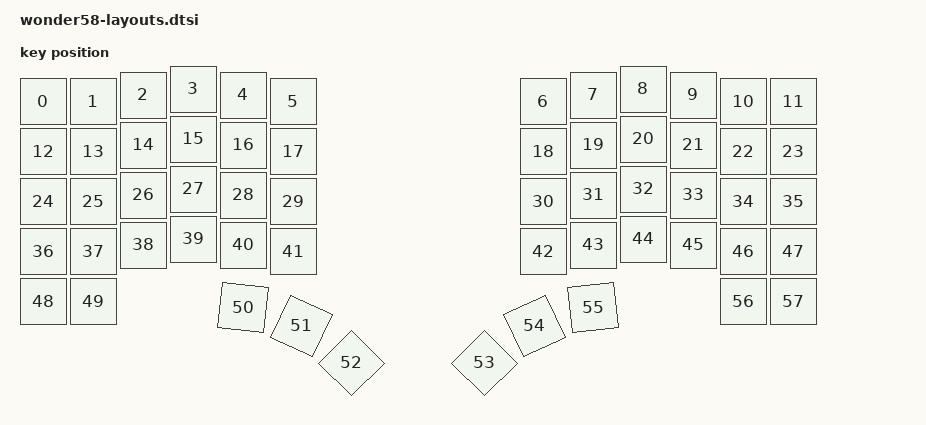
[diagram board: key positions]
#include <physical_layouts.dtsi>

/ {
    physical_layout0: physical_layout_0 {
        compatible = "zmk,physical-layout";
        display-name = "default";

    	kscan = <&kscan0>;
    	transform = <&default_transform>;

        keys  //                     w   h    x    y     rot    rx    ry
            = <&key_physical_attrs 100 100    0   25       0     0     0>
            , <&key_physical_attrs 100 100  100   25       0     0     0>
            , <&key_physical_attrs 100 100  200   12       0     0     0>
            , <&key_physical_attrs 100 100  300    0       0     0     0>
            , <&key_physical_attrs 100 100  400   12       0     0     0>
            , <&key_physical_attrs 100 100  500   25       0     0     0>
            , <&key_physical_attrs 100 100 1000   25       0     0     0>
            , <&key_physical_attrs 100 100 1100   12       0     0     0>
            , <&key_physical_attrs 100 100 1200    0       0     0     0>
            , <&key_physical_attrs 100 100 1300   12       0     0     0>
            , <&key_physical_attrs 100 100 1400   25       0     0     0>
            , <&key_physical_attrs 100 100 1500   25       0     0     0>
            , <&key_physical_attrs 100 100    0  125       0     0     0>
            , <&key_physical_attrs 100 100  100  125       0     0     0>
            , <&key_physical_attrs 100 100  200  112       0     0     0>
            , <&key_physical_attrs 100 100  300  100       0     0     0>
            , <&key_physical_attrs 100 100  400  112       0     0     0>
            , <&key_physical_attrs 100 100  500  125       0     0     0>
            , <&key_physical_attrs 100 100 1000  125       0     0     0>
            , <&key_physical_attrs 100 100 1100  112       0     0     0>
            , <&key_physical_attrs 100 100 1200  100       0     0     0>
            , <&key_physical_attrs 100 100 1300  112       0     0     0>
            , <&key_physical_attrs 100 100 1400  125       0     0     0>
            , <&key_physical_attrs 100 100 1500  125       0     0     0>
            , <&key_physical_attrs 100 100    0  225       0     0     0>
            , <&key_physical_attrs 100 100  100  225       0     0     0>
            , <&key_physical_attrs 100 100  200  212       0     0     0>
            , <&key_physical_attrs 100 100  300  200       0     0     0>
            , <&key_physical_attrs 100 100  400  212       0     0     0>
            , <&key_physical_attrs 100 100  500  225       0     0     0>
            , <&key_physical_attrs 100 100 1000  225       0     0     0>
            , <&key_physical_attrs 100 100 1100  212       0     0     0>
            , <&key_physical_attrs 100 100 1200  200       0     0     0>
            , <&key_physical_attrs 100 100 1300  212       0     0     0>
            , <&key_physical_attrs 100 100 1400  225       0     0     0>
            , <&key_physical_attrs 100 100 1500  225       0     0     0>
            , <&key_physical_attrs 100 100    0  325       0     0     0>
            , <&key_physical_attrs 100 100  100  325       0     0     0>
            , <&key_physical_attrs 100 100  200  312       0     0     0>
            , <&key_physical_attrs 100 100  300  300       0     0     0>
            , <&key_physical_attrs 100 100  400  312       0     0     0>
            , <&key_physical_attrs 100 100  500  325       0     0     0>
            , <&key_physical_attrs 100 100 1000  325       0     0     0>
            , <&key_physical_attrs 100 100 1100  312       0     0     0>
            , <&key_physical_attrs 100 100 1200  300       0     0     0>
            , <&key_physical_attrs 100 100 1300  312       0     0     0>
            , <&key_physical_attrs 100 100 1400  325       0     0     0>
            , <&key_physical_attrs 100 100 1500  325       0     0     0>
            , <&key_physical_attrs 100 100    0  425       0     0     0>
            , <&key_physical_attrs 100 100  100  425       0     0     0>
            , <&key_physical_attrs 100 100  400  437     600   450   487>
            , <&key_physical_attrs 100 100  517  474    2500   567   524>
            , <&key_physical_attrs 100 100  617  548    4500   667   598>
            , <&key_physical_attrs 100 100  883  548 (-4500)   933   598>
            , <&key_physical_attrs 100 100  983  474 (-2500)  1033   524>
            , <&key_physical_attrs 100 100 1100  437  (-600)  1150   487>
            , <&key_physical_attrs 100 100 1400  425       0     0     0>
            , <&key_physical_attrs 100 100 1500  425       0     0     0>
            ;
    };
};
